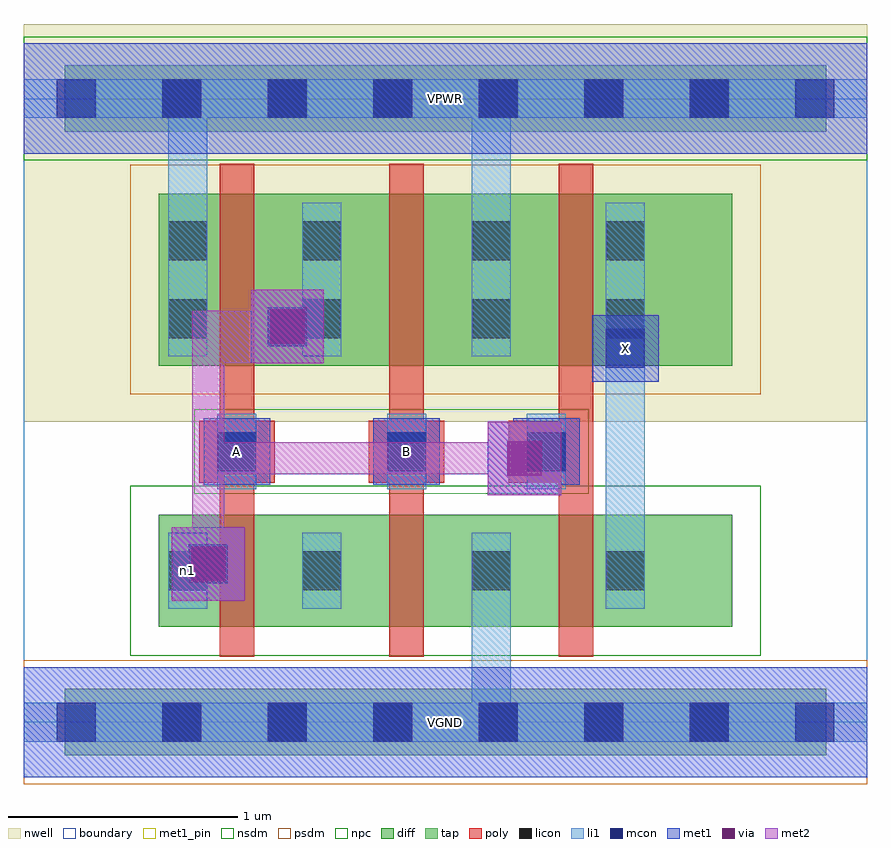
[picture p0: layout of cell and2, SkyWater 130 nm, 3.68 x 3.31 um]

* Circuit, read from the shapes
.subckt and2 A B VGND VPWR X n1
XM1 n2 A n1 VGND sky130_fd_pr__nfet_01v8 w=0.49 l=0.15
XM2 VGND B n2 VGND sky130_fd_pr__nfet_01v8 w=0.49 l=0.15
XM3 X n1 VGND VGND sky130_fd_pr__nfet_01v8 w=0.49 l=0.15
XM4 n1 A VPWR VPWR sky130_fd_pr__pfet_01v8 w=0.75 l=0.15
XM5 VPWR B n1 VPWR sky130_fd_pr__pfet_01v8 w=0.75 l=0.15
XM6 X n1 VPWR VPWR sky130_fd_pr__pfet_01v8 w=0.75 l=0.15
.ends

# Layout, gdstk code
import gdstk
lib = gdstk.Library(unit=1e-6, precision=1e-09)
def R(c, l, rs):  # rectangles x0, y0, x1, y1
    for r in rs: c.add(gdstk.rectangle(r[:2], r[2:], *l))
def A(c, l, x, y, w, h, nx, ny, dx, dy):  # array of equal rectangles
    R(c, l, [(x+i*dx, y+j*dy, x+i*dx+w, y+j*dy+h) for i in range(nx) for j in range(ny)])
nwell = (64, 20)
diff = (65, 20)
tap = (65, 44)
poly = (66, 20)
licon = (66, 44)
li1 = (67, 20)
mcon = (67, 44)
met1_pin = (68, 16)
met1 = (68, 20)
via = (68, 44)
met2 = (69, 20)
nsdm = (93, 44)
psdm = (94, 20)
npc = (95, 20)
boundary = (235, 4)

and2 = lib.new_cell('and2')
R(and2, nwell, [(0,1.31,3.68,3.045)])
R(and2, diff, [(0.59,0.415,3.09,0.905), (0.59,1.555,3.09,2.305)])
R(and2, tap, [(0.18,-0.145,3.5,0.145), (0.18,2.575,3.5,2.865)])
A(and2, poly, 0.855, 0.285, 0.15, 2.15, 3, 1, 0.74, 0)
R(and2, poly, [(0.765,1.045,1.095,1.315), (1.505,1.045,1.835,1.315), (2.115,1.045,2.445,1.315)])
A(and2, licon, 0.605, -0.085, 0.17, 0.17, 6, 2, 0.46, 2.72)
R(and2, licon, [(0.63,0.575,0.8,0.745), (1.215,0.575,1.385,0.745), (1.955,0.575,2.125,0.745), (2.54,0.575,2.71,0.745), (0.845,1.095,1.015,1.265), (1.585,1.095,1.755,1.265), (2.195,1.095,2.365,1.265), (0.63,1.675,0.8,1.845), (1.215,1.675,1.385,1.845), (1.955,1.675,2.125,1.845), (2.54,1.675,2.71,1.845), (0.63,2.015,0.8,2.185), (1.215,2.015,1.385,2.185), (1.955,2.015,2.125,2.185), (2.54,2.015,2.71,2.185)])
R(and2, li1, [(0,-0.085,3.68,0.085), (1.955,-0.085,2.125,0.825), (0.63,0.495,0.8,0.825), (1.215,0.495,1.385,0.825), (1.955,0.495,2.125,0.825), (2.54,0.495,2.71,0.825), (2.54,0.495,2.71,2.265), (0.63,0.605,0.89,0.775), (0.845,1.015,1.015,1.345), (1.585,1.015,1.755,1.345), (2.195,1.015,2.365,1.345), (0.63,1.595,0.8,2.265), (0.63,1.595,0.8,2.805), (1.215,1.595,1.385,2.265), (1.955,1.595,2.125,2.265), (1.955,1.595,2.125,2.805), (2.54,1.595,2.71,2.265), (1.065,1.64,1.385,1.81), (0,2.635,3.68,2.805)])
A(and2, mcon, 0.145, -0.085, 0.17, 0.17, 8, 2, 0.46, 2.72)
R(and2, mcon, [(0.72,0.605,0.89,0.775), (0.845,1.095,1.015,1.265), (1.585,1.095,1.755,1.265), (2.195,1.095,2.365,1.265), (2.54,1.545,2.71,1.715), (1.065,1.64,1.235,1.81)])
R(and2, met1_pin, [(0,-0.24,3.68,0.24), (0.785,1.035,1.075,1.325), (1.525,1.035,1.815,1.325), (2.48,1.485,2.77,1.775), (0,2.48,3.68,2.96)])
R(and2, met1, [(0,-0.24,3.68,0.24), (0.645,0.53,0.965,0.85), (0.66,0.545,0.95,0.835), (2.025,0.99,2.345,1.31), (0.785,1.035,1.075,1.325), (1.525,1.035,1.815,1.325), (2.135,1.035,2.425,1.325), (2.48,1.485,2.77,1.775), (0.99,1.565,1.31,1.885), (1.005,1.58,1.295,1.87), (0,2.48,3.68,2.96)])
R(and2, via, [(0.73,0.615,0.88,0.765), (2.11,1.075,2.26,1.225), (1.075,1.65,1.225,1.8)])
R(and2, met2, [(0.645,0.53,0.965,0.85), (0.735,0.62,0.875,1.795), (2.025,0.99,2.345,1.31), (0.735,1.08,2.255,1.22), (0.875,1.565,0.99,1.795), (0.99,1.565,1.31,1.885), (0.735,1.655,1.22,1.795)])
R(and2, nsdm, [(0.465,0.29,3.215,1.03), (0,2.45,3.68,2.99)])
R(and2, psdm, [(0,-0.27,3.68,0.27), (0.465,1.43,3.215,2.43)])
R(and2, npc, [(0.745,0.995,2.465,1.365)])
R(and2, boundary, [(0,0,3.68,2.72)])
and2.add(gdstk.Label('n1', (0.715,0.66), layer=67, texttype=5))
and2.add(gdstk.Label('X', (2.625,1.63), layer=68, texttype=5))
and2.add(gdstk.Label('A', (0.93,1.18), layer=68, texttype=5))
and2.add(gdstk.Label('B', (1.67,1.18), layer=68, texttype=5))
and2.add(gdstk.Label('VPWR', (1.84,2.72), layer=68, texttype=5))
and2.add(gdstk.Label('VGND', (1.84,0), layer=68, texttype=5))
and2.add(gdstk.Label('X', (2.625,1.63), layer=68, texttype=16))
and2.add(gdstk.Label('A', (0.93,1.18), layer=68, texttype=16))
and2.add(gdstk.Label('B', (1.67,1.18), layer=68, texttype=16))
and2.add(gdstk.Label('VPWR', (1.84,2.72), layer=68, texttype=16))
and2.add(gdstk.Label('VGND', (1.84,0), layer=68, texttype=16))

lib.write_gds('and2.gds')
